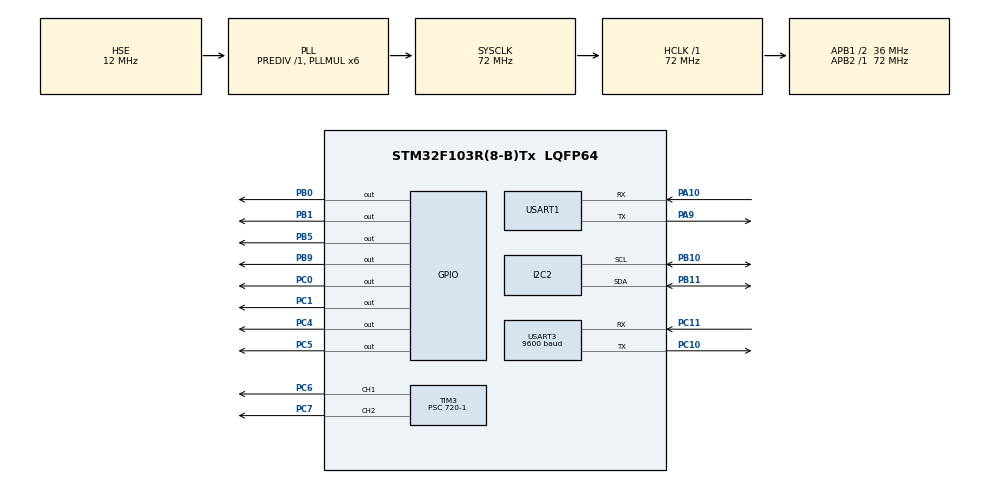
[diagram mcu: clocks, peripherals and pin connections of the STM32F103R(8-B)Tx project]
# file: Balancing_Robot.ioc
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I2C2.I2C_Mode=I2C_Fast
Mcu.Family=STM32F1
Mcu.Name=STM32F103R(8-B)Tx
Mcu.Package=LQFP64
NVIC.PriorityGroup=NVIC_PRIORITYGROUP_2
NVIC.TIM2_IRQn=true\:1\:2\:true\:false\:true\:true\:true
NVIC.USART1_IRQn=true\:0\:0\:true\:false\:true\:true\:true
NVIC.USART3_IRQn=true\:1\:1\:true\:false\:true\:true\:true
PA10.Mode=Asynchronous
PA10.Signal=USART1_RX
PA9.Mode=Asynchronous
PA9.Signal=USART1_TX
PB0.Signal=GPIO_Output
PB1.PinState=GPIO_PIN_RESET
PB1.Signal=GPIO_Output
PB10.Mode=I2C
PB10.Signal=I2C2_SCL
PB11.Mode=I2C
PB11.Signal=I2C2_SDA
PB5.Signal=GPIO_Output
PB9.Signal=GPIO_Output
PC0.Signal=GPIO_Output
PC1.Signal=GPIO_Output
PC10.Mode=Asynchronous
PC10.Signal=USART3_TX
PC11.Mode=Asynchronous
PC11.Signal=USART3_RX
PC4.Signal=GPIO_Output
PC5.Signal=GPIO_Output
PC6.Signal=S_TIM3_CH1
PC7.Signal=S_TIM3_CH2
PD0-OSC_IN.Mode=HSE-External-Oscillator
PD0-OSC_IN.Signal=RCC_OSC_IN
PD1-OSC_OUT.Mode=HSE-External-Oscillator
PD1-OSC_OUT.Signal=RCC_OSC_OUT
ProjectManager.HeapSize=0x200
ProjectManager.StackSize=0x400
ProjectManager.TargetToolchain=TrueSTUDIO
RCC.AHBFreq_Value=72000000
RCC.APB1CLKDivider=RCC_HCLK_DIV2
RCC.APB1Freq_Value=36000000
RCC.APB1TimFreq_Value=72000000
RCC.APB2Freq_Value=72000000
RCC.APB2TimFreq_Value=72000000
RCC.HCLKFreq_Value=72000000
RCC.HSE_VALUE=12000000
RCC.PLLMUL=RCC_PLL_MUL6
RCC.PLLSourceVirtual=RCC_PLLSOURCE_HSE
RCC.SYSCLKFreq_VALUE=72000000
RCC.SYSCLKSource=RCC_SYSCLKSOURCE_PLLCLK
RCC.USBFreq_Value=72000000
SH.S_TIM3_CH1.0=TIM3_CH1,PWM Generation1 CH1
SH.S_TIM3_CH2.0=TIM3_CH2,PWM Generation2 CH2
TIM2.Period=1000-1
TIM2.Prescaler=72-1
TIM3.Channel-PWM\ Generation1\ CH1=TIM_CHANNEL_1
TIM3.Channel-PWM\ Generation2\ CH2=TIM_CHANNEL_2
TIM3.Period=1000-1
TIM3.Prescaler=720-1
USART1.VirtualMode=VM_ASYNC
USART3.BaudRate=9600
USART3.VirtualMode=VM_ASYNC
VP_SYS_VS_ND.Mode=No_Debug
VP_TIM2_VS_ClockSourceINT.Mode=Internal
VP_TIM3_VS_ClockSourceINT.Mode=Internal
board=custom

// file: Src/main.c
/* USER CODE BEGIN Header */
/**
 ******************************************************************************
 * @file           : main.c
 * @brief          : Main program body
 ******************************************************************************
 * @attention
 *
 * <h2><center>&copy; Copyright (c) 2019 STMicroelectronics.
 * All rights reserved.</center></h2>
 *
 * This software component is licensed by ST under BSD 3-Clause license,
 * the "License"; You may not use this file except in compliance with the
 * License. You may obtain a copy of the License at:
 *                        opensource.org/licenses/BSD-3-Clause
 *
 ******************************************************************************
 */
/* USER CODE END Header */

#include "main.h"
#include "i2c.h"
#include "tim.h"
#include "usart.h"
#include "gpio.h"

/* USER CODE BEGIN Includes */
#include "PID.h"
#include "math.h"
#include "MPU6050.h"
#include "string.h"

/* USER CODE END Includes */

/* USER CODE BEGIN PD */
#define RAD_TO_DEG 57.29578
#define DEG_TO_RAD 0.017453
//#define M_PI 3.141592//65358979323846

/* USER CODE END PD */

/* USER CODE BEGIN PV */
char uart3_rx[100],uart1_rx[100];
int16_t ax,ay,az,gx,gy,gz,tmpr;
float rate_gyroX=0, rate_gyroZ=0, rate_gyroY=0;
float raw_accX=0, raw_accY=0, raw_accZ=0;
float rate_accX=0, rate_accY=0, rate_accZ=0;
float gyroAngleX=0, gyroAngleY=0, gyroAngleZ=0;
float time_diff=0.01;

float accAngX=0,accAngX1=0;
float CFangleX=0, CFangleX1=0;

char std[200];

float K = 0.99;

float PIDspeed=0;
const float default_setpoint = -0.0405;
float move_setpoint=0;

PID first;

float P_constant = 2000.0;	//2000.0;
float I_constant = 80.0;	//75.0;
float D_constant = 5000.0;	//5000.0;

int TURN_flag = 0; //
/* USER CODE END PV */

void SystemClock_Config(void);

/* USER CODE BEGIN 0 */
void setPoint(PID *target) {
	target->set_point = default_setpoint + move_setpoint;
}

float update(PID *target,float current_Val) {
	target->error = target->set_point - current_Val;

	float P_Val = (target->Kp)* target->error;
	float D_Val = target->Kd * (target->error - target->Derivator);
	target->Derivator = target->error;

	if (target->Integrator > target->Integrator_max)
		target->Integrator = target->Integrator_max;
	else if (target->Integrator < target->Integrator_min)
		target->Integrator = target->Integrator_min;

	float I_Val = target->Integrator * target->Ki;

	//float PID_Val = P_Val + I_Val + D_Val;

	target->Integrator = target->Integrator + (target->error);

	//sprintf(std,"P_Val: %.2f,	I_Val: %.2f,	D_Val: %.2f,	error:%.2f \r\n",P_Val,I_Val,D_Val,target->error);
	//HAL_UART_Transmit(&huart1, std, strlen(std), 20);
	return P_Val + I_Val + D_Val;
}

void initPID(PID *target,float P, float I, float D) {
	target->Kp = P;
	target->Ki = I;
	target->Kd = D;

	target->Integrator = 0;
	target->Derivator = 0;
	target->Integrator_max = 100;
	target->Integrator_min = -100;

	target->set_point = default_setpoint;
	target->error = 0;
}

void MotorInit(){
	HAL_TIM_PWM_Start(&htim3,TIM_CHANNEL_2);
	HAL_TIM_PWM_Start(&htim3,TIM_CHANNEL_1);
}
void MotorStop(){

	GPIOB->BRR = GPIO_PIN_0;
	GPIOB->BRR = GPIO_PIN_1;

	GPIOC->BRR = GPIO_PIN_0;
	GPIOC->BRR = GPIO_PIN_1;
	TIM3->CCR1 = 0;
	TIM3->CCR2 = 0;
}
void MotorBackward(float speed){
	if(speed>=1000)
		speed =1000;

	if(TURN_flag==-1){
		TIM3->CCR1 = (int)speed;
		TIM3->CCR2 = (int)speed*0.7;
	}
	else if(TURN_flag==1){
		TIM3->CCR1 = (int)speed*0.7;
		TIM3->CCR2 = (int)speed;
	}
	else{
		TIM3->CCR1 = (int)speed;
		TIM3->CCR2 = (int)speed;
	}

	GPIOB->BRR = GPIO_PIN_0;
	GPIOB->BSRR = GPIO_PIN_1;

	GPIOC->BSRR = GPIO_PIN_1;
	GPIOC->BRR = GPIO_PIN_0;
}
void MotorForward(float speed){
	if(speed>=1000)
		speed =1000;

	if(TURN_flag==-1){
		TIM3->CCR1 = (int)speed*0.7;
		TIM3->CCR2 = (int)speed;
	}
	else if(TURN_flag==1){
		TIM3->CCR1 = (int)speed;
		TIM3->CCR2 = (int)speed*0.7;
	}
	else{
		TIM3->CCR1 = (int)speed;
		TIM3->CCR2 = (int)speed;
	}

	GPIOB->BSRR = GPIO_PIN_0;
	GPIOB->BRR = GPIO_PIN_1;

	GPIOC->BRR = GPIO_PIN_1;
	GPIOC->BSRR = GPIO_PIN_0;
}

void HAL_UART_RxCpltCallback(UART_HandleTypeDef *huart)
{
	//TURN_flag 瑜� 醫뚰쉶�쟾 �늻瑜대㈃ -1�씠�릺怨� �븣硫� 0�릺硫� �슦�쉶�쟾 �늻瑜대㈃ 1�릺怨� �븣硫� �떎�떆 0�맖.
	//�쟾吏꾪썑吏� ��吏곸씠硫� 理쒕� +-0.3 �쑝濡� move_setpoint 媛믪씠 蹂��빐�빞�븿. �빐二쇨퀬 setPoint(&first); �떎�뻾 �빐以섏빞�뙋.
	if(huart->Instance == USART1)
	{
		//HAL_TIM_Base_Stop_IT(&htim2);
		//HAL_GPIO_TogglePin(GPIOB,GPIO_PIN_8);
		//HAL_TIM_Base_Start_IT(&htim2);
	}

	if(huart->Instance == USART3)
	{
		//F,B,R,L,S
		switch(uart3_rx[0]){
		case 'F':
			TURN_flag = 0;
			move_setpoint = -0.04;
			setPoint(&first);
			break;
		case 'B':
			TURN_flag = 0;
			move_setpoint = 0.04;
			setPoint(&first);
			break;
		case 'R':
			TURN_flag = -1;
			move_setpoint = -0.03;
			setPoint(&first);
			break;
		case 'L':
			TURN_flag = 1;
			move_setpoint = -0.03;
			setPoint(&first);
			break;
		case 'N':
			TURN_flag = 0;
			move_setpoint=0.0;
			PIDspeed=0;
			CFangleX1=0;
			accAngX1=0;
			first.Integrator=0;
			first.Derivator=0;
			first.error=0;
			setPoint(&first);
			break;
		default://'S'
			TURN_flag = 0;
			move_setpoint=0.0;
			setPoint(&first);
			break;
		}

		uart3_rx[0]=0;

		HAL_UART_Receive_IT(&huart3, (uint8_t*)uart3_rx, 1);
	}

}

void HAL_TIM_PeriodElapsedCallback(TIM_HandleTypeDef *htim)
{
	if(htim ->Instance == TIM2)//10ms
	{
		GPIOB->ODR ^= GPIO_PIN_9; //�넗湲�

		MPU6050_GetData(&ax,&ay,&az,&gx,&gy,&gz,&tmpr);
		//			sprintf(std,"MPU6050: ax:%d , ay:%d , az:%d , gx:%d , gy:%d , gz:%d , tmpr:%d \r\n",ax,ay,az,gx,gy,gz,tmpr);
		//sprintf(std,"tim is running\n\r");
		//			sprintf(std,"MPU6050: rate_gyroX:%.2f , rate_gyroY:%.2f , rate_gyroZ:%.2f , rate_accX:%.2f , rate_accY:%.2f , rate_accZ:%.2f \r\n",rate_gyroX,rate_gyroY,rate_gyroZ,rate_accX,rate_accY,rate_accZ);
		//			HAL_UART_Transmit(&huart1, std, strlen(std), 200);

		rate_gyroX = (float)gx/ 131.0;
		rate_gyroY = (float)gy/ 131.0;
		rate_gyroZ = (float)gz/ 131.0;
		gyroAngleX += rate_gyroX * time_diff ;
		gyroAngleY += rate_gyroY * time_diff ;
		gyroAngleZ += rate_gyroZ * time_diff ;

		rate_accX = -(float)ax/16384.0;
		rate_accY = -(float)ay/16384.0;
		rate_accZ = (float)az/16384.0;

		accAngX1 = atan2(rate_accX, rate_accZ)* RAD_TO_DEG;
		CFangleX1 =  K * ( CFangleX1 + rate_gyroY*time_diff) + (1 - K) * accAngX1 ;
		//sprintf(std,"MPU6050: rate_gyroX:%.2f , rate_gyroY:%.2f , rate_gyroZ:%.2f , rate_accX:%.2f , rate_accY:%.2f , rate_accZ:%.2f \r\n",rate_gyroX,rate_gyroY,rate_gyroZ,rate_accX,rate_accY,rate_accZ);
		//HAL_UART_Transmit(&huart1, std, strlen(std), 200);
		//sprintf(std,"current Val: %.2f \r\n",CFangleX1);
		//sprintf(std,"accAngX1: %.2f, CFangleX1=%.2f \r\n",accAngX1,CFangleX1);
		//sprintf(std,"accAngX1: %.2f, gyroAngleY=%.2f \r\n",accAngX1,gyroAngleY);
		//HAL_UART_Transmit(&huart1, std, strlen(std), 20);
		PIDspeed = update(&first,CFangleX1*DEG_TO_RAD);

		if(PIDspeed<0){
			//HAL_UART_Transmit(&huart1, std, strlen(std), 20);
			MotorBackward(-PIDspeed);
			//sprintf(std,"PIDspeed: %f \r\n Forward \r\n",PIDspeed);
			//HAL_UART_Transmit(&huart1, std, strlen(std), 20);
		}
		else if(PIDspeed>0){
			//HAL_UART_Transmit(&huart1, std, strlen(std), 20);
			MotorForward(PIDspeed);
			//sprintf(std,"PIDspeed: %f \r\n backward \r\n",PIDspeed);
			//HAL_UART_Transmit(&huart1, std, strlen(std), 20);
		}
		else{
			//HAL_UART_Transmit(&huart1, std, strlen(std), 20);
			MotorStop();
		}
		//		}
	}

}
/* USER CODE END 0 */

int main(void)
{

	/* MCU Configuration--------------------------------------------------------*/

	/* Reset of all peripherals, Initializes the Flash interface and the Systick. */
	HAL_Init();

	/* Configure the system clock */
	SystemClock_Config();

	/* Initialize all configured peripherals */
	MX_GPIO_Init();
	MX_I2C2_Init();
	MX_USART3_UART_Init();
	MX_TIM3_Init();
	MX_TIM2_Init();
	MX_USART1_UART_Init();
	/* USER CODE BEGIN 2 */
	MPU6050_Init(0x03);//LPF 42Hz
	MotorInit();
	//MotorStop();

	//HAL_UART_Receive_IT(&huart3, (uint8_t*)uart3_rx, 1);
	initPID(&first,P_constant,I_constant,D_constant);
	setPoint(&first);
	HAL_TIM_Base_Start_IT(&htim2);
	HAL_UART_Receive_IT(&huart3, (uint8_t*)uart3_rx, 1);
	/* USER CODE END 2 */

	/* Infinite loop */
	while (1)
	{

		/* USER CODE BEGIN 3 */
		//MPU6050_GetData(&ax,&ay,&az,&gx,&gy,&gz,&tmpr);
		//		sprintf(std,"MPU6050: rate_gyroX:%.2f , rate_gyroY:%.2f , rate_gyroZ:%.2f , rate_accX:%.2f , rate_accY:%.2f , rate_accZ:%.2f \r\n",rate_gyroX,rate_gyroY,rate_gyroZ,rate_accX,rate_accY,rate_accZ);
		//		HAL_UART_Transmit(&huart1, std, strlen(std), 100);
		//sprintf(std,"MPU6050: gx:%d , gy:%d , gz:%d , ax:%d , ay:%d , az:%d , tmpr:%d \r\n",gx,gy,gz,ax,ay,az,tmpr);
		//HAL_UART_Transmit(&huart1, std, strlen(std), 10);

		//HAL_Delay(100);
	}
	/* USER CODE END 3 */
}
void SystemClock_Config(void)
{
	RCC_OscInitTypeDef RCC_OscInitStruct = {0};
	RCC_ClkInitTypeDef RCC_ClkInitStruct = {0};

	/** Initializes the CPU, AHB and APB busses clocks
	 */
	RCC_OscInitStruct.OscillatorType = RCC_OSCILLATORTYPE_HSE;
	RCC_OscInitStruct.HSEState = RCC_HSE_ON;
	RCC_OscInitStruct.HSEPredivValue = RCC_HSE_PREDIV_DIV1;
	RCC_OscInitStruct.HSIState = RCC_HSI_ON;
	RCC_OscInitStruct.PLL.PLLState = RCC_PLL_ON;
	RCC_OscInitStruct.PLL.PLLSource = RCC_PLLSOURCE_HSE;
	RCC_OscInitStruct.PLL.PLLMUL = RCC_PLL_MUL6;
	if (HAL_RCC_OscConfig(&RCC_OscInitStruct) != HAL_OK)
	{
		Error_Handler();
	}
	/** Initializes the CPU, AHB and APB busses clocks
	 */
	RCC_ClkInitStruct.ClockType = RCC_CLOCKTYPE_HCLK|RCC_CLOCKTYPE_SYSCLK
			|RCC_CLOCKTYPE_PCLK1|RCC_CLOCKTYPE_PCLK2;
	RCC_ClkInitStruct.SYSCLKSource = RCC_SYSCLKSOURCE_PLLCLK;
	RCC_ClkInitStruct.AHBCLKDivider = RCC_SYSCLK_DIV1;
	RCC_ClkInitStruct.APB1CLKDivider = RCC_HCLK_DIV2;
	RCC_ClkInitStruct.APB2CLKDivider = RCC_HCLK_DIV1;

	if (HAL_RCC_ClockConfig(&RCC_ClkInitStruct, FLASH_LATENCY_2) != HAL_OK)
	{
		Error_Handler();
	}
}

void Error_Handler(void)
{
}

/************************ (C) COPYRIGHT STMicroelectronics *****END OF FILE****/
